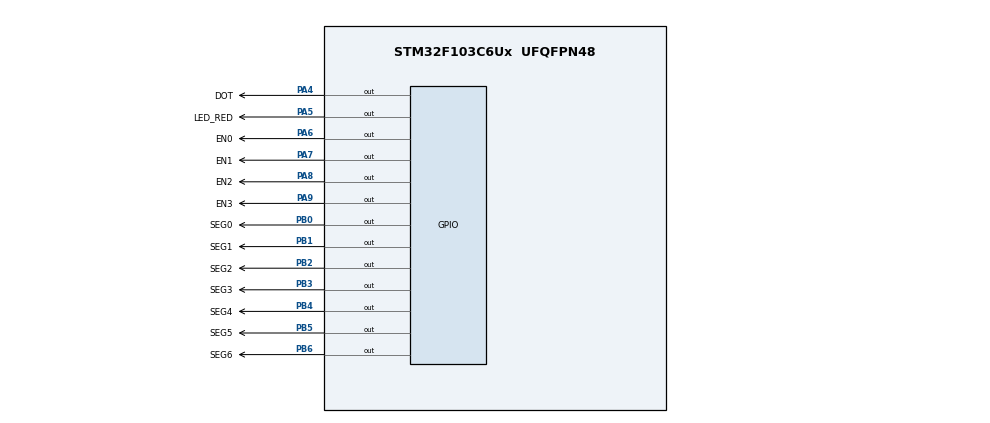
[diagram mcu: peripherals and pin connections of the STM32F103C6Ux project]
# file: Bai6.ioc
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Mcu.Family=STM32F1
Mcu.Name=STM32F103C6Ux
Mcu.Package=UFQFPN48
NVIC.PriorityGroup=NVIC_PRIORITYGROUP_4
NVIC.TIM2_IRQn=true\:0\:0\:false\:false\:true\:true\:true\:true
PA4.GPIO_Label=DOT
PA4.Signal=GPIO_Output
PA5.GPIO_Label=LED_RED
PA5.Signal=GPIO_Output
PA6.GPIO_Label=EN0
PA6.Signal=GPIO_Output
PA7.GPIO_Label=EN1
PA7.Signal=GPIO_Output
PA8.GPIO_Label=EN2
PA8.Signal=GPIO_Output
PA9.GPIO_Label=EN3
PA9.Signal=GPIO_Output
PB0.GPIO_Label=SEG0
PB0.Signal=GPIO_Output
PB1.GPIO_Label=SEG1
PB1.Signal=GPIO_Output
PB2.GPIO_Label=SEG2
PB2.Signal=GPIO_Output
PB3.GPIO_Label=SEG3
PB3.Signal=GPIO_Output
PB4.GPIO_Label=SEG4
PB4.Signal=GPIO_Output
PB5.GPIO_Label=SEG5
PB5.Signal=GPIO_Output
PB6.GPIO_Label=SEG6
PB6.Signal=GPIO_Output
ProjectManager.HeapSize=0x200
ProjectManager.StackSize=0x400
ProjectManager.TargetToolchain=STM32CubeIDE
RCC.APB1Freq_Value=8000000
RCC.APB2Freq_Value=8000000
TIM2.Period=9
TIM2.Prescaler=7999
VP_SYS_VS_ND.Mode=No_Debug
VP_TIM2_VS_ClockSourceINT.Mode=Internal
board=custom

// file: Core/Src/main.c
/* USER CODE BEGIN Header */
/**
 ******************************************************************************
 * @file           : main.c
 * @brief          : Main program body
 ******************************************************************************
 * @attention
 *
 * Copyright (c) 2022 STMicroelectronics.
 * All rights reserved.
 *
 * This software is licensed under terms that can be found in the LICENSE file
 * in the root directory of this software component.
 * If no LICENSE file comes with this software, it is provided AS-IS.
 *
 ******************************************************************************
 */
/* USER CODE END Header */
#include "main.h"

TIM_HandleTypeDef htim2;

void SystemClock_Config(void);
static void MX_GPIO_Init(void);
static void MX_TIM2_Init(void);

/* USER CODE BEGIN 0 */
void display7SEG(int num) {
	//num is the time displayed on the 7-segment led
	if (num == 0) {
		HAL_GPIO_WritePin(SEG0_GPIO_Port, SEG0_Pin, 0);
		HAL_GPIO_WritePin(SEG1_GPIO_Port, SEG1_Pin, 0);
		HAL_GPIO_WritePin(SEG2_GPIO_Port, SEG2_Pin, 0);
		HAL_GPIO_WritePin(SEG3_GPIO_Port, SEG3_Pin, 0);
		HAL_GPIO_WritePin(SEG4_GPIO_Port, SEG4_Pin, 0);
		HAL_GPIO_WritePin(SEG5_GPIO_Port, SEG5_Pin, 0);
		HAL_GPIO_WritePin(SEG6_GPIO_Port, SEG6_Pin, 1);
	}
	if (num == 1) {
		HAL_GPIO_WritePin(SEG0_GPIO_Port, SEG0_Pin, 1);
		HAL_GPIO_WritePin(SEG1_GPIO_Port, SEG1_Pin, 0);
		HAL_GPIO_WritePin(SEG2_GPIO_Port, SEG2_Pin, 0);
		HAL_GPIO_WritePin(SEG3_GPIO_Port, SEG3_Pin, 1);
		HAL_GPIO_WritePin(SEG4_GPIO_Port, SEG4_Pin, 1);
		HAL_GPIO_WritePin(SEG5_GPIO_Port, SEG5_Pin, 1);
		HAL_GPIO_WritePin(SEG6_GPIO_Port, SEG6_Pin, 1);
	}
	if (num == 2) {
		HAL_GPIO_WritePin(SEG0_GPIO_Port, SEG0_Pin, 0);
		HAL_GPIO_WritePin(SEG1_GPIO_Port, SEG1_Pin, 0);
		HAL_GPIO_WritePin(SEG2_GPIO_Port, SEG2_Pin, 1);
		HAL_GPIO_WritePin(SEG3_GPIO_Port, SEG3_Pin, 0);
		HAL_GPIO_WritePin(SEG4_GPIO_Port, SEG4_Pin, 0);
		HAL_GPIO_WritePin(SEG5_GPIO_Port, SEG5_Pin, 1);
		HAL_GPIO_WritePin(SEG6_GPIO_Port, SEG6_Pin, 0);
	}
	if (num == 3) {
		HAL_GPIO_WritePin(SEG0_GPIO_Port, SEG0_Pin, 0);
		HAL_GPIO_WritePin(SEG1_GPIO_Port, SEG1_Pin, 0);
		HAL_GPIO_WritePin(SEG2_GPIO_Port, SEG2_Pin, 0);
		HAL_GPIO_WritePin(SEG3_GPIO_Port, SEG3_Pin, 0);
		HAL_GPIO_WritePin(SEG4_GPIO_Port, SEG4_Pin, 1);
		HAL_GPIO_WritePin(SEG5_GPIO_Port, SEG5_Pin, 1);
		HAL_GPIO_WritePin(SEG6_GPIO_Port, SEG6_Pin, 0);
	}
	if (num == 4) {
		HAL_GPIO_WritePin(SEG0_GPIO_Port, SEG0_Pin, 1);
		HAL_GPIO_WritePin(SEG1_GPIO_Port, SEG1_Pin, 0);
		HAL_GPIO_WritePin(SEG2_GPIO_Port, SEG2_Pin, 0);
		HAL_GPIO_WritePin(SEG3_GPIO_Port, SEG3_Pin, 1);
		HAL_GPIO_WritePin(SEG4_GPIO_Port, SEG4_Pin, 1);
		HAL_GPIO_WritePin(SEG5_GPIO_Port, SEG5_Pin, 0);
		HAL_GPIO_WritePin(SEG6_GPIO_Port, SEG6_Pin, 0);
	}
	if (num == 5) {
		HAL_GPIO_WritePin(SEG0_GPIO_Port, SEG0_Pin, 0);
		HAL_GPIO_WritePin(SEG1_GPIO_Port, SEG1_Pin, 1);
		HAL_GPIO_WritePin(SEG2_GPIO_Port, SEG2_Pin, 0);
		HAL_GPIO_WritePin(SEG3_GPIO_Port, SEG3_Pin, 0);
		HAL_GPIO_WritePin(SEG4_GPIO_Port, SEG4_Pin, 1);
		HAL_GPIO_WritePin(SEG5_GPIO_Port, SEG5_Pin, 0);
		HAL_GPIO_WritePin(SEG6_GPIO_Port, SEG6_Pin, 0);
	}
	if (num == 6) {
		HAL_GPIO_WritePin(SEG0_GPIO_Port, SEG0_Pin, 0);
		HAL_GPIO_WritePin(SEG1_GPIO_Port, SEG1_Pin, 1);
		HAL_GPIO_WritePin(SEG2_GPIO_Port, SEG2_Pin, 0);
		HAL_GPIO_WritePin(SEG3_GPIO_Port, SEG3_Pin, 0);
		HAL_GPIO_WritePin(SEG4_GPIO_Port, SEG4_Pin, 0);
		HAL_GPIO_WritePin(SEG5_GPIO_Port, SEG5_Pin, 0);
		HAL_GPIO_WritePin(SEG6_GPIO_Port, SEG6_Pin, 0);
	}
	if (num == 7) {
		HAL_GPIO_WritePin(SEG0_GPIO_Port, SEG0_Pin, 0);
		HAL_GPIO_WritePin(SEG1_GPIO_Port, SEG1_Pin, 0);
		HAL_GPIO_WritePin(SEG2_GPIO_Port, SEG2_Pin, 0);
		HAL_GPIO_WritePin(SEG3_GPIO_Port, SEG3_Pin, 1);
		HAL_GPIO_WritePin(SEG4_GPIO_Port, SEG4_Pin, 1);
		HAL_GPIO_WritePin(SEG5_GPIO_Port, SEG5_Pin, 1);
		HAL_GPIO_WritePin(SEG6_GPIO_Port, SEG6_Pin, 1);
	}
	if (num == 8) {
		HAL_GPIO_WritePin(SEG0_GPIO_Port, SEG0_Pin, 0);
		HAL_GPIO_WritePin(SEG1_GPIO_Port, SEG1_Pin, 0);
		HAL_GPIO_WritePin(SEG2_GPIO_Port, SEG2_Pin, 0);
		HAL_GPIO_WritePin(SEG3_GPIO_Port, SEG3_Pin, 0);
		HAL_GPIO_WritePin(SEG4_GPIO_Port, SEG4_Pin, 0);
		HAL_GPIO_WritePin(SEG5_GPIO_Port, SEG5_Pin, 0);
		HAL_GPIO_WritePin(SEG6_GPIO_Port, SEG6_Pin, 0);
	}
	if (num == 9) {
		HAL_GPIO_WritePin(SEG0_GPIO_Port, SEG0_Pin, 0);
		HAL_GPIO_WritePin(SEG1_GPIO_Port, SEG1_Pin, 0);
		HAL_GPIO_WritePin(SEG2_GPIO_Port, SEG2_Pin, 0);
		HAL_GPIO_WritePin(SEG3_GPIO_Port, SEG3_Pin, 0);
		HAL_GPIO_WritePin(SEG4_GPIO_Port, SEG4_Pin, 1);
		HAL_GPIO_WritePin(SEG5_GPIO_Port, SEG5_Pin, 0);
		HAL_GPIO_WritePin(SEG6_GPIO_Port, SEG6_Pin, 0);
	}
}
int led_buffer[4];
int hour = 15, minute = 8, second = 50;
void updateClockBuffer() {
	led_buffer[0] = hour / 10;	//15:10=1
	led_buffer[1] = hour % 10;	//15%10=5
	led_buffer[2] = minute / 10;	//8:10=0
	led_buffer[3] = minute % 10;	//8%10=8
}

int timer0_counter = 0;
int timer0_flag = 0;
int TIMER_CYCLE = 10;
void setTimer0(int duration) {
	timer0_counter = duration / TIMER_CYCLE;
	timer0_flag = 0;
}
void timer_run() {
	if (timer0_counter > 0) {
		timer0_counter--;
		if (timer0_counter == 0)
			timer0_flag = 1;
	}
}

/* USER CODE END 0 */

int main(void)
{

  /* MCU Configuration--------------------------------------------------------*/

  /* Reset of all peripherals, Initializes the Flash interface and the Systick. */
  HAL_Init();

  /* Configure the system clock */
  SystemClock_Config();

  /* Initialize all configured peripherals */
  MX_GPIO_Init();
  MX_TIM2_Init();
  /* USER CODE BEGIN 2 */
	HAL_TIM_Base_Start_IT(&htim2);
  /* USER CODE END 2 */

  /* Infinite loop */
  /* USER CODE BEGIN WHILE */

	setTimer0(10);
	while (1) {
		if (timer0_flag == 1) {
			HAL_GPIO_TogglePin(LED_RED_GPIO_Port, LED_RED_Pin);
			setTimer0(2000);
		}
    /* USER CODE END WHILE */

	}
}

void SystemClock_Config(void)
{
  RCC_OscInitTypeDef RCC_OscInitStruct = {0};
  RCC_ClkInitTypeDef RCC_ClkInitStruct = {0};

  /** Initializes the RCC Oscillators according to the specified parameters
  * in the RCC_OscInitTypeDef structure.
  */
  RCC_OscInitStruct.OscillatorType = RCC_OSCILLATORTYPE_HSI;
  RCC_OscInitStruct.HSIState = RCC_HSI_ON;
  RCC_OscInitStruct.HSICalibrationValue = RCC_HSICALIBRATION_DEFAULT;
  RCC_OscInitStruct.PLL.PLLState = RCC_PLL_NONE;
  if (HAL_RCC_OscConfig(&RCC_OscInitStruct) != HAL_OK)
  {
    Error_Handler();
  }

  /** Initializes the CPU, AHB and APB buses clocks
  */
  RCC_ClkInitStruct.ClockType = RCC_CLOCKTYPE_HCLK|RCC_CLOCKTYPE_SYSCLK
                              |RCC_CLOCKTYPE_PCLK1|RCC_CLOCKTYPE_PCLK2;
  RCC_ClkInitStruct.SYSCLKSource = RCC_SYSCLKSOURCE_HSI;
  RCC_ClkInitStruct.AHBCLKDivider = RCC_SYSCLK_DIV1;
  RCC_ClkInitStruct.APB1CLKDivider = RCC_HCLK_DIV1;
  RCC_ClkInitStruct.APB2CLKDivider = RCC_HCLK_DIV1;

  if (HAL_RCC_ClockConfig(&RCC_ClkInitStruct, FLASH_LATENCY_0) != HAL_OK)
  {
    Error_Handler();
  }
}

static void MX_TIM2_Init(void)
{

  TIM_ClockConfigTypeDef sClockSourceConfig = {0};
  TIM_MasterConfigTypeDef sMasterConfig = {0};

  htim2.Instance = TIM2;
  htim2.Init.Prescaler = 7999;
  htim2.Init.CounterMode = TIM_COUNTERMODE_UP;
  htim2.Init.Period = 9;
  htim2.Init.ClockDivision = TIM_CLOCKDIVISION_DIV1;
  htim2.Init.AutoReloadPreload = TIM_AUTORELOAD_PRELOAD_DISABLE;
  if (HAL_TIM_Base_Init(&htim2) != HAL_OK)
  {
    Error_Handler();
  }
  sClockSourceConfig.ClockSource = TIM_CLOCKSOURCE_INTERNAL;
  if (HAL_TIM_ConfigClockSource(&htim2, &sClockSourceConfig) != HAL_OK)
  {
    Error_Handler();
  }
  sMasterConfig.MasterOutputTrigger = TIM_TRGO_RESET;
  sMasterConfig.MasterSlaveMode = TIM_MASTERSLAVEMODE_DISABLE;
  if (HAL_TIMEx_MasterConfigSynchronization(&htim2, &sMasterConfig) != HAL_OK)
  {
    Error_Handler();
  }

}

static void MX_GPIO_Init(void)
{
  GPIO_InitTypeDef GPIO_InitStruct = {0};

  /* GPIO Ports Clock Enable */
  __HAL_RCC_GPIOA_CLK_ENABLE();
  __HAL_RCC_GPIOB_CLK_ENABLE();

  /*Configure GPIO pin Output Level */
  HAL_GPIO_WritePin(GPIOA, DOT_Pin|LED_RED_Pin|EN0_Pin|EN1_Pin
                          |EN2_Pin|EN3_Pin, GPIO_PIN_RESET);

  /*Configure GPIO pin Output Level */
  HAL_GPIO_WritePin(GPIOB, SEG0_Pin|SEG1_Pin|SEG2_Pin|SEG3_Pin
                          |SEG4_Pin|SEG5_Pin|SEG6_Pin, GPIO_PIN_RESET);

  /*Configure GPIO pins : DOT_Pin LED_RED_Pin EN0_Pin EN1_Pin
                           EN2_Pin EN3_Pin */
  GPIO_InitStruct.Pin = DOT_Pin|LED_RED_Pin|EN0_Pin|EN1_Pin
                          |EN2_Pin|EN3_Pin;
  GPIO_InitStruct.Mode = GPIO_MODE_OUTPUT_PP;
  GPIO_InitStruct.Pull = GPIO_NOPULL;
  GPIO_InitStruct.Speed = GPIO_SPEED_FREQ_LOW;
  HAL_GPIO_Init(GPIOA, &GPIO_InitStruct);

  /*Configure GPIO pins : SEG0_Pin SEG1_Pin SEG2_Pin SEG3_Pin
                           SEG4_Pin SEG5_Pin SEG6_Pin */
  GPIO_InitStruct.Pin = SEG0_Pin|SEG1_Pin|SEG2_Pin|SEG3_Pin
                          |SEG4_Pin|SEG5_Pin|SEG6_Pin;
  GPIO_InitStruct.Mode = GPIO_MODE_OUTPUT_PP;
  GPIO_InitStruct.Pull = GPIO_NOPULL;
  GPIO_InitStruct.Speed = GPIO_SPEED_FREQ_LOW;
  HAL_GPIO_Init(GPIOB, &GPIO_InitStruct);

}

/* USER CODE BEGIN 4 */
void HAL_TIM_PeriodElapsedCallback(TIM_HandleTypeDef *htim) {
	timer_run();

	//YOUR OTHER CODE
}
/* USER CODE END 4 */

void Error_Handler(void)
{
	__disable_irq();
	while (1) {
	}
}
